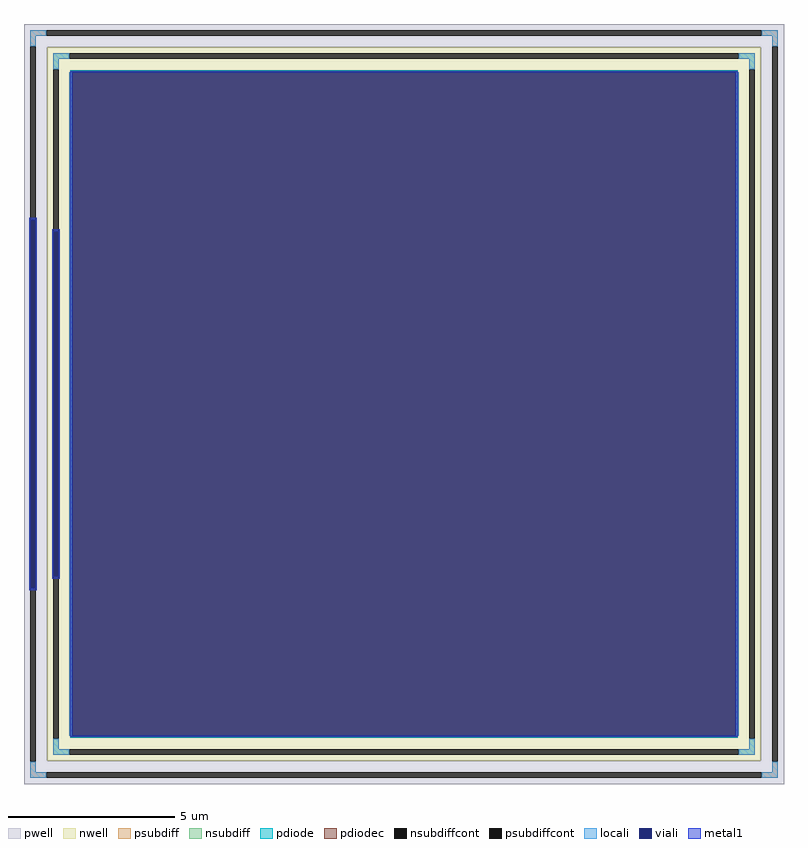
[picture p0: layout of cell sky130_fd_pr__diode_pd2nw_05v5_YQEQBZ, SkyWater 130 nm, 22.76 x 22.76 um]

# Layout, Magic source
magic
tech sky130A
magscale 1 2
<< nwell >>
rect -2138 -2138 2138 2138
<< pwell >>
rect -2276 2138 2276 2276
rect -2276 -2138 -2138 2138
rect 2138 -2138 2276 2138
rect -2276 -2276 2276 -2138
<< psubdiff >>
rect -2240 2206 -2144 2240
rect 2144 2206 2240 2240
rect -2240 2144 -2206 2206
rect 2206 2144 2240 2206
rect -2240 -2206 -2206 -2144
rect 2206 -2206 2240 -2144
rect -2240 -2240 -2144 -2206
rect 2144 -2240 2240 -2206
<< nsubdiff >>
rect -2102 2068 -2006 2102
rect 2006 2068 2102 2102
rect -2102 2006 -2068 2068
rect 2068 2006 2102 2068
rect -2102 -2068 -2068 -2006
rect 2068 -2068 2102 -2006
rect -2102 -2102 -2006 -2068
rect 2006 -2102 2102 -2068
<< psubdiffcont >>
rect -2144 2206 2144 2240
rect -2240 -2144 -2206 2144
rect 2206 -2144 2240 2144
rect -2144 -2240 2144 -2206
<< nsubdiffcont >>
rect -2006 2068 2006 2102
rect -2102 -2006 -2068 2006
rect 2068 -2006 2102 2006
rect -2006 -2102 2006 -2068
<< pdiode >>
rect -2000 1988 2000 2000
rect -2000 -1988 -1988 1988
rect 1988 -1988 2000 1988
rect -2000 -2000 2000 -1988
<< pdiodec >>
rect -1988 -1988 1988 1988
<< locali >>
rect -2240 2206 -2144 2240
rect 2144 2206 2240 2240
rect -2240 2144 -2206 2206
rect 2206 2144 2240 2206
rect -2102 2068 -2006 2102
rect 2006 2068 2102 2102
rect -2102 2006 -2068 2068
rect 2068 2006 2102 2068
rect -2004 -1988 -1988 1988
rect 1988 -1988 2004 1988
rect -2102 -2068 -2068 -2006
rect 2068 -2068 2102 -2006
rect -2102 -2102 -2006 -2068
rect 2006 -2102 2102 -2068
rect -2240 -2206 -2206 -2144
rect 2206 -2206 2240 -2144
rect -2240 -2240 -2144 -2206
rect 2144 -2240 2240 -2206
<< viali >>
rect -2240 -1103 -2206 1103
rect -2102 -1034 -2068 1034
rect -1988 -1988 1988 1988
<< metal1 >>
rect -2000 1988 2000 1994
rect -2246 1103 -2200 1115
rect -2246 -1103 -2240 1103
rect -2206 -1103 -2200 1103
rect -2108 1034 -2062 1046
rect -2108 -1034 -2102 1034
rect -2068 -1034 -2062 1034
rect -2108 -1046 -2062 -1034
rect -2246 -1115 -2200 -1103
rect -2000 -1988 -1988 1988
rect 1988 -1988 2000 1988
rect -2000 -1994 2000 -1988
<< properties >>
string FIXED_BBOX -2085 -2085 2085 2085
string gencell sky130_fd_pr__diode_pd2nw_05v5
string library sky130
string parameters w 20 l 20 area 400.0 peri 80.0 nx 1 ny 1 dummy 0 lmin 0.45 wmin 0.45 elc 1 erc 1 etc 1 ebc 1 glc 1 grc 1 gtc 1 gbc 1 doverlap 0 compatible {sky130_fd_pr__diode_pd2nw_05v5 sky130_fd_pr__diode_pd2nw_05v5_lvt  sky130_fd_pr__diode_pd2nw_05v5_hvt sky130_fd_pr__diode_pd2nw_11v0} full_metal 1 vias 1 viagb 0 viagt 0 viagl 50 viagr 0
<< end >>
